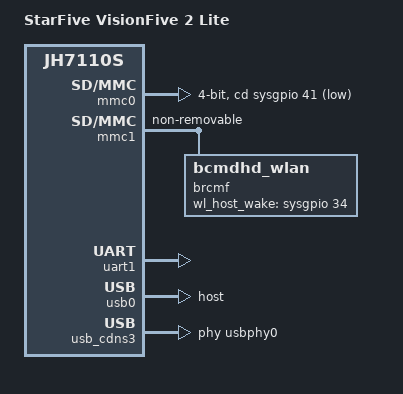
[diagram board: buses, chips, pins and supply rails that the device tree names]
// SPDX-License-Identifier: GPL-2.0 OR MIT
/*
 * Copyright (C) 2025 StarFive Technology Co., Ltd.
 * Copyright (C) 2025 Hal Feng <hal.feng@starfivetech.com>
 */

/dts-v1/;
#include "jh7110-starfive-visionfive-2-v1.3b.dts"

/ {
	model = "StarFive VisionFive 2 Lite";
	compatible = "starfive,visionfive-2-lite", "starfive,jh7110s";
};

&mmc0 {
	/delete-property/ cap-mmc-highspeed;
	/delete-property/ mmc-ddr-1_8v;
	/delete-property/ mmc-hs200-1_8v;
	/delete-property/ cap-mmc-hw-reset;
	/delete-property/ vmmc-supply;
	/delete-property/ vqmmc-supply;
	/delete-property/ non-removable;
	bus-width = <4>;
	no-sdio;
	no-mmc;
	cd-gpios = <&sysgpio 41 GPIO_ACTIVE_LOW>;
	disable-wp;
	cap-sd-highspeed;
};

&mmc0_pins {
	/delete-node/ rst-pins;
};

&mmc1 {
	/delete-property/ no-sdio;
	/delete-property/ no-mmc;
	/delete-property/ cd-gpios;
	/delete-property/ disable-wp;
	/delete-property/ post-power-on-delay-ms;
	max-frequency = <50000000>;
	#address-cells = <1>;
	#size-cells = <0>;
	non-removable;
	keep-power-in-suspend;
	gpio_wl_reg_on = <&sysgpio 33 GPIO_ACTIVE_LOW>;

	brcmf: bcmdhd_wlan {
		compatible = "bcmdhd_wlan";
		gpio_wl_host_wake = <&sysgpio 34 GPIO_ACTIVE_HIGH>;
	};
};

&gmac1 {
	status = "disabled";
};

&panel_radxa {
	/delete-property/ reset-gpio;
	/delete-property/ enable-gpio;
};

&pcie0 {
	status = "disabled";
};

&pciephy0 {
	starfive,sys-syscon = <&sys_syscon 0x18>;
	starfive,stg-syscon = <&stg_syscon 0x148 0x1f4>;
};

&pwmdac {
	status = "disabled";
};

&pwmdac_codec {
	status = "disabled";
};

&sound3 {
	status = "disabled";
};

&syscrg {
	assigned-clock-rates = <500000000>, <1250000000>;
};

&sysgpio {
	uart1_pins: uart1-0 {
		tx-pins {
			pinmux = <GPIOMUX(22, GPOUT_SYS_UART1_TX,
					      GPOEN_ENABLE,
					      GPI_NONE)>;
			bias-disable;
			drive-strength = <12>;
			input-disable;
			input-schmitt-disable;
			slew-rate = <0>;
		};

		rx-pins {
			pinmux = <GPIOMUX(23, GPOUT_LOW,
					      GPOEN_DISABLE,
					      GPI_SYS_UART1_RX)>;
			bias-pull-up;
			drive-strength = <2>;
			input-enable;
			input-schmitt-enable;
			slew-rate = <0>;
		};

		cts-pins {
			pinmux = <GPIOMUX(25, GPOUT_LOW,
					      GPOEN_DISABLE,
					      GPI_SYS_UART1_CTS)>;
			input-enable;
		};

		rts-pins {
			pinmux = <GPIOMUX(24, GPOUT_SYS_UART1_RTS,
					      GPOEN_ENABLE,
					      GPI_NONE)>;
			input-enable;
		};
	};

	usb0_pins: usb0-0 {
		power-pins {
			pinmux = <GPIOMUX(26, GPOUT_HIGH,
					      GPOEN_ENABLE,
					      GPI_NONE)>;
			input-disable;
		};
	};
};

&touchscreen {
	/delete-property/ irq-gpios;
	/delete-property/ reset-gpios;
};

&uart1 {
        pinctrl-names = "default";
        pinctrl-0 = <&uart1_pins>;
        status = "okay";
};

&usb0 {
	clocks = <&stgcrg JH7110_STGCLK_USB0_LPM>,
		 <&stgcrg JH7110_STGCLK_USB0_STB>,
		 <&stgcrg JH7110_STGCLK_USB0_APB>,
		 <&stgcrg JH7110_STGCLK_USB0_AXI>,
		 <&stgcrg JH7110_STGCLK_USB0_UTMI_APB>,
		 <&stgcrg JH7110_STGCLK_PCIE0_APB>;
	clock-names = "lpm", "stb", "apb", "axi", "utmi_apb", "phy";
	resets = <&stgcrg JH7110_STGRST_USB0_PWRUP>,
		 <&stgcrg JH7110_STGRST_USB0_APB>,
		 <&stgcrg JH7110_STGRST_USB0_AXI>,
		 <&stgcrg JH7110_STGRST_USB0_UTMI_APB>,
		 <&stgcrg JH7110_STGRST_PCIE0_APB>;
	reset-names = "pwrup", "apb", "axi", "utmi_apb", "phy";
	pinctrl-names = "default";
	pinctrl-0 = <&usb0_pins>;
	dr_mode = "host";
	xhci-lowmem-pool;
};

&usb_cdns3 {
	phys = <&usbphy0>, <&pciephy0>;
	phy-names = "cdns3,usb2-phy", "cdns3,usb3-phy";
};
